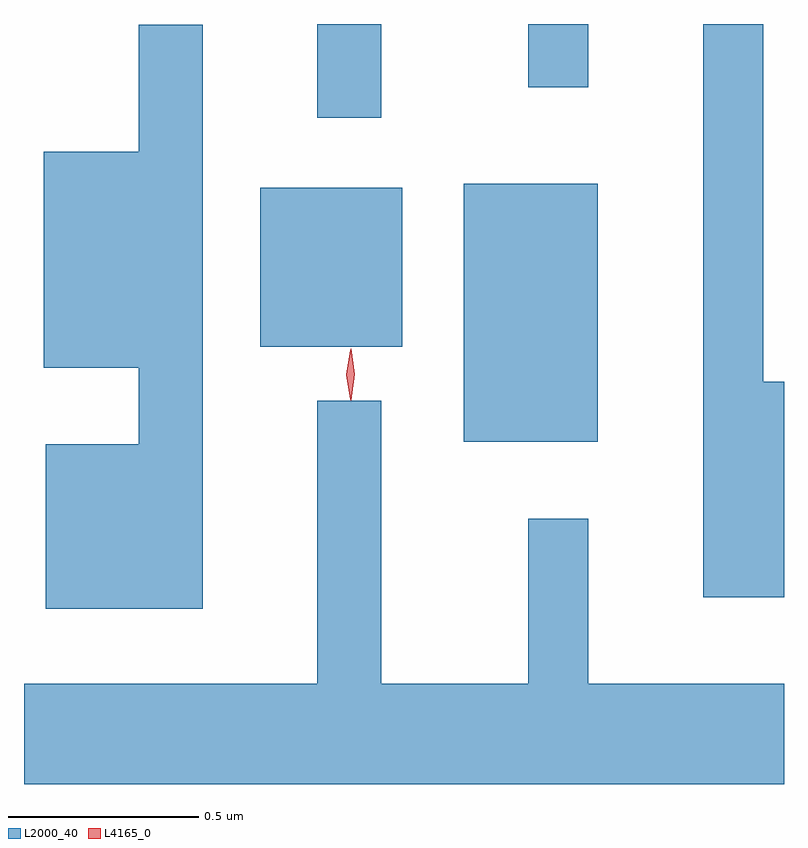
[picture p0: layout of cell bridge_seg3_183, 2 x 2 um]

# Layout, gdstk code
import gdstk
lib = gdstk.Library(unit=1e-6, precision=1e-09)
def R(c, l, rs):  # rectangles x0, y0, x1, y1
    for r in rs: c.add(gdstk.rectangle(r[:2], r[2:], *l))
def P(c, l, *ps):  # polygons
    for p in ps: c.add(gdstk.Polygon(p, *l))
L2000_40 = (2000, 40)
L4165_0 = (4165, 0)

bridge_seg3_183 = lib.new_cell('bridge_seg3_183')
R(bridge_seg3_183, L2000_40, [(872.776,1142.461,873.129,1143.139), (872.241,1142.711,872.614,1143.129), (872.391,1143.313,872.559,1143.56), (872.946,1143.393,873.104,1143.56)])
P(bridge_seg3_183, L2000_40, [(873.619,1142.619),(873.564,1142.619),(873.564,1143.56),(873.406,1143.56),(873.406,1142.051),(873.619,1142.051)],
  [(872.089,1143.558),(871.921,1143.558),(871.921,1143.224),(871.671,1143.224),(871.671,1142.656),(871.921,1142.656),(871.921,1142.454),(871.676,1142.454),(871.676,1142.021),(872.089,1142.021)],
  [(873.619,1141.824),(873.104,1141.824),(873.104,1142.258),(872.946,1142.258),(872.946,1141.824),(872.559,1141.824),(872.559,1142.568),(872.391,1142.568),(872.391,1141.824),(871.619,1141.824),(871.619,1141.56),(873.619,1141.56)])
P(bridge_seg3_183, L4165_0, [(872.479,1142.569),(872.479,1142.57),(872.47,1142.638),(872.479,1142.706),(872.48,1142.706),(872.48,1142.706),(872.489,1142.638),(872.48,1142.57)],
  [(872.477,1142.572),(872.477,1142.573),(872.467,1142.637),(872.477,1142.702),(872.477,1142.702),(872.478,1142.702),(872.487,1142.637),(872.478,1142.573)])

lib.write_gds('bridge_seg3_183.gds')
